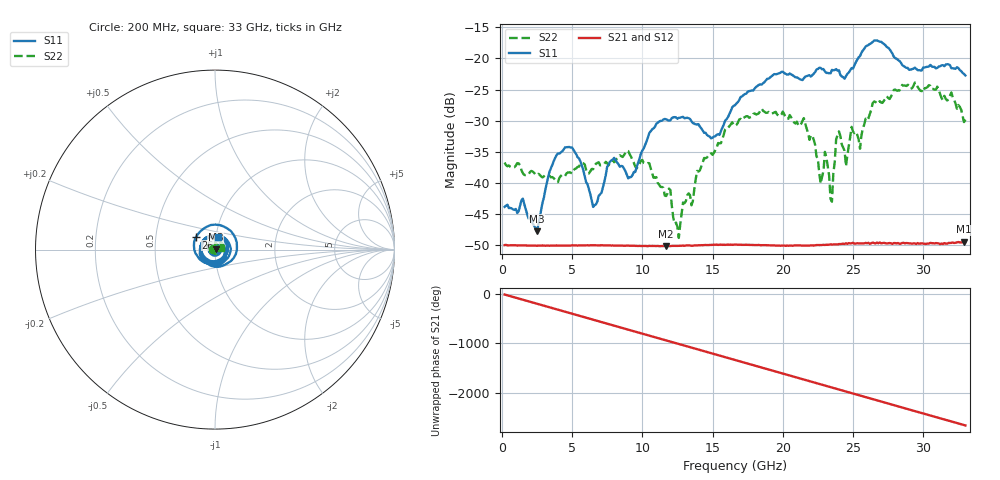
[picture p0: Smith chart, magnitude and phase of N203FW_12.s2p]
# GHZ S RI R 50
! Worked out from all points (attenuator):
!   329 points, 200 MHz to 33 GHz, reference 50 ohm
!   highest |S21| = -49.44 dB at 32.9 GHz (marker M1); lowest = -50.1 dB at 11.7 GHz (marker M2)
!   lowest |S11| = -47.8 dB at 2.5 GHz (marker M3), VSWR 1.01, Z = 50.3 + j0.241 ohm
!   |S11| at or under -10 dB: start of sweep to end of sweep
!   |S22| runs from -48.8 to -23.9 dB; largest |S21 - S12| = 8.8e-05
!   S11 on the Smith chart (normalised r, x): 200 MHz: 1.01, +0.00; 26 GHz: 0.80, +0.11; 33 GHz: 1.02, +0.15
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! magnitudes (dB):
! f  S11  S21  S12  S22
! 200 MHz  -43.8  -50.0  -49.9  -36.7
! 2.5 GHz  -47.8  -50.1  -50.0  -38.7
! 3.9 GHz  -35.5  -50.0  -50.0  -39.8
! 5.7 GHz  -37.2  -50.0  -50.0  -36.8
! 6.5 GHz  -43.8  -50.0  -50.0  -37.8
! 7.7 GHz  -36.6  -50.0  -50.0  -36.8
! 8.9 GHz  -38.7  -50.0  -50.1  -34.8
! 11.2 GHz  -30.1  -50.1  -50.1  -40.3
! 11.7 GHz  -29.8  -50.1  -50.1  -42.1
! 12.6 GHz  -29.5  -50.1  -50.1  -48.8
! 13.9 GHz  -30.6  -50.0  -50.0  -38.1
! 16.6 GHz  -27.5  -49.9  -49.9  -30.8
! 22.1 GHz  -22.7  -50.0  -50.0  -32.4
! 23.5 GHz  -21.8  -49.9  -49.8  -43.0
! 24 GHz  -21.9  -49.8  -49.8  -31.7
! 24.5 GHz  -22.8  -49.7  -49.7  -37.3
! 24.9 GHz  -21.6  -49.7  -49.6  -31.0
! 26 GHz  -18.0  -49.7  -49.6  -29.9
! 27.6 GHz  -18.5  -49.6  -49.6  -26.5
! 31 GHz  -21.5  -49.7  -49.6  -24.5
! 32.9 GHz  -22.5  -49.4  -49.4  -30.2
! 33 GHz  -22.7  -49.5  -49.5  -29.8
